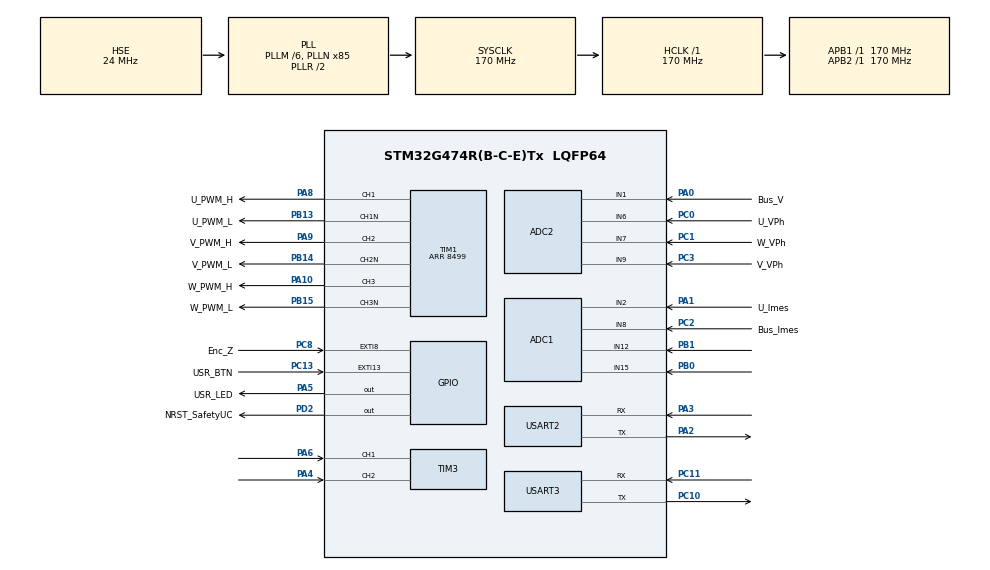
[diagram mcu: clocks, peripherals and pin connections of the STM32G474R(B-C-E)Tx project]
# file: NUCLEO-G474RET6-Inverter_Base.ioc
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ADC1.Channel-0\#ChannelRegularConversion=ADC_CHANNEL_2
ADC1.ContinuousConvMode=DISABLE
ADC1.DMAContinuousRequests=ENABLE
ADC1.ExternalTrigConv=ADC_EXTERNALTRIG_T1_TRGO
ADC1.NbrOfConversionFlag=1
ADC1.OffsetNumber-0\#ChannelRegularConversion=ADC_OFFSET_NONE
ADC1.Rank-0\#ChannelRegularConversion=1
ADC1.SamplingTime-0\#ChannelRegularConversion=ADC_SAMPLETIME_640CYCLES_5
ADC1.master=1
ADC2.Channel-0\#ChannelRegularConversion=ADC_CHANNEL_6
ADC2.NbrOfConversionFlag=1
ADC2.OffsetNumber-0\#ChannelRegularConversion=ADC_OFFSET_NONE
ADC2.Rank-0\#ChannelRegularConversion=1
ADC2.SamplingTime-0\#ChannelRegularConversion=ADC_SAMPLETIME_2CYCLES_5
Dma.ADC1.0.Direction=DMA_PERIPH_TO_MEMORY
Dma.ADC1.0.EventEnable=DISABLE
Dma.ADC1.0.Instance=DMA1_Channel2
Dma.ADC1.0.MemDataAlignment=DMA_MDATAALIGN_HALFWORD
Dma.ADC1.0.MemInc=DMA_MINC_ENABLE
Dma.ADC1.0.Mode=DMA_CIRCULAR
Dma.ADC1.0.PeriphDataAlignment=DMA_PDATAALIGN_HALFWORD
Dma.ADC1.0.PeriphInc=DMA_PINC_DISABLE
Dma.ADC1.0.Polarity=HAL_DMAMUX_REQ_GEN_RISING
Dma.ADC1.0.Priority=DMA_PRIORITY_HIGH
Dma.ADC1.0.RequestNumber=1
Dma.ADC1.0.SignalID=NONE
Dma.ADC1.0.SyncEnable=DISABLE
Dma.ADC1.0.SyncPolarity=HAL_DMAMUX_SYNC_NO_EVENT
Dma.ADC1.0.SyncRequestNumber=1
Dma.ADC1.0.SyncSignalID=NONE
Dma.Request0=ADC1
Mcu.Family=STM32G4
<<<<<<< HEAD
=======
>>>>>>> 3be45abfca1f35e9987b3098ab299a620d0665c6
Mcu.Name=STM32G474R(B-C-E)Tx
Mcu.Package=LQFP64
<<<<<<< HEAD
=======
>>>>>>> 3be45abfca1f35e9987b3098ab299a620d0665c6
NVIC.DMA1_Channel2_IRQn=true\:0\:0\:false\:false\:true\:false\:true\:true
NVIC.EXTI15_10_IRQn=true\:0\:0\:false\:false\:true\:true\:true\:true
NVIC.EXTI9_5_IRQn=true\:0\:0\:false\:false\:true\:true\:true\:true
NVIC.PriorityGroup=NVIC_PRIORITYGROUP_4
<<<<<<< HEAD
NVIC.TIM1_UP_TIM16_IRQn=true\:0\:0\:false\:false\:true\:true\:true\:true
=======
NVIC.TIM1_TRG_COM_TIM17_IRQn=true\:0\:0\:false\:false\:true\:true\:true\:true
>>>>>>> 3be45abfca1f35e9987b3098ab299a620d0665c6
NVIC.TIM6_DAC_IRQn=true\:15\:0\:false\:false\:true\:false\:true\:true
NVIC.TIM7_DAC_IRQn=true\:0\:0\:false\:false\:true\:true\:true\:true
NVIC.TimeBase=TIM6_DAC_IRQn
NVIC.TimeBaseIP=TIM6
NVIC.USART2_IRQn=true\:0\:0\:false\:false\:true\:true\:true\:true
PA0.GPIO_Label=Bus_V
PA0.Mode=IN1-Single-Ended
PA0.Signal=ADC2_IN1
PA1.GPIO_Label=U_Imes
PA1.Mode=IN2-Single-Ended
PA1.Signal=ADC1_IN2
PA10.GPIO_Label=W_PWM_H
PA10.Signal=S_TIM1_CH3
PA13.GPIO_Label=T_SWDIO
PA13.Mode=Trace_Asynchronous_SW
PA13.Signal=SYS_JTMS-SWDIO
PA14.GPIO_Label=T_SWCLK
PA14.Mode=Trace_Asynchronous_SW
PA14.Signal=SYS_JTCK-SWCLK
PA2.Mode=Asynchronous
PA2.Signal=USART2_TX
PA3.Mode=Asynchronous
PA3.Signal=USART2_RX
PA4.Signal=S_TIM3_CH2
PA5.GPIO_Label=USR_LED
PA5.Signal=GPIO_Output
PA6.Signal=S_TIM3_CH1
PA8.GPIO_Label=U_PWM_H
PA8.Signal=S_TIM1_CH1
PA9.GPIO_Label=V_PWM_H
PA9.Signal=S_TIM1_CH2
PB0.Mode=IN15-Single-Ended
PB0.Signal=ADC1_IN15
PB1.Mode=IN12-Single-Ended
PB1.Signal=ADC1_IN12
PB13.GPIO_Label=U_PWM_L
PB13.Mode=PWM Generation1 CH1 CH1N
PB13.Signal=TIM1_CH1N
PB14.GPIO_Label=V_PWM_L
PB14.Mode=PWM Generation2 CH2 CH2N
PB14.Signal=TIM1_CH2N
PB15.GPIO_Label=W_PWM_L
PB15.Mode=PWM Generation3 CH3 CH3N
PB15.Signal=TIM1_CH3N
PB3.GPIO_Label=T_SWO
PB3.Mode=Trace_Asynchronous_SW
PB3.Signal=SYS_JTDO-SWO
PC0.GPIO_Label=U_VPh
PC0.Mode=IN6-Single-Ended
PC0.Signal=ADC2_IN6
PC1.GPIO_Label=W_VPh
PC1.Mode=IN7-Single-Ended
PC1.Signal=ADC2_IN7
PC10.Mode=Asynchronous
PC10.Signal=USART3_TX
PC11.Mode=Asynchronous
PC11.Signal=USART3_RX
PC13.GPIO_Label=USR_BTN
PC13.Signal=GPXTI13
PC14-OSC32_IN.Mode=LSE-External-Oscillator
PC14-OSC32_IN.Signal=RCC_OSC32_IN
PC15-OSC32_OUT.Mode=LSE-External-Oscillator
PC15-OSC32_OUT.Signal=RCC_OSC32_OUT
PC2.GPIO_Label=Bus_Imes
PC2.Mode=IN8-Single-Ended
PC2.Signal=ADC1_IN8
PC3.GPIO_Label=V_VPh
PC3.Mode=IN9-Single-Ended
PC3.Signal=ADC2_IN9
PC8.GPIO_Label=Enc_Z
PC8.Signal=GPXTI8
PD2.GPIO_Label=NRST_SafetyUC
PD2.Signal=GPIO_Output
PF0-OSC_IN.Mode=HSE-External-Oscillator
PF0-OSC_IN.Signal=RCC_OSC_IN
PF1-OSC_OUT.Mode=HSE-External-Oscillator
PF1-OSC_OUT.Signal=RCC_OSC_OUT
ProjectManager.HeapSize=0x200
ProjectManager.StackSize=0x400
ProjectManager.TargetToolchain=STM32CubeIDE
<<<<<<< HEAD
=======
>>>>>>> 3be45abfca1f35e9987b3098ab299a620d0665c6
RCC.ADC12Freq_Value=170000000
RCC.ADC345Freq_Value=170000000
RCC.AHBFreq_Value=170000000
RCC.APB1Freq_Value=170000000
RCC.APB1TimFreq_Value=170000000
RCC.APB2Freq_Value=170000000
RCC.APB2TimFreq_Value=170000000
RCC.CortexFreq_Value=170000000
RCC.EXTERNAL_CLOCK_VALUE=12288000
RCC.HCLKFreq_Value=170000000
RCC.HSE_VALUE=24000000
RCC.HSI48_VALUE=48000000
RCC.HSI_VALUE=16000000
RCC.PLLM=RCC_PLLM_DIV6
RCC.PLLN=85
RCC.PLLSourceVirtual=RCC_PLLSOURCE_HSE
RCC.RTCClockSelection=RCC_RTCCLKSOURCE_LSE
RCC.SYSCLKFreq_VALUE=170000000
RCC.SYSCLKSource=RCC_SYSCLKSOURCE_PLLCLK
RCC.USBFreq_Value=170000000
RCC.VCOOutputFreq_Value=340000000
SH.S_TIM1_CH1.0=TIM1_CH1,PWM Generation1 CH1 CH1N
SH.S_TIM1_CH2.0=TIM1_CH2,PWM Generation2 CH2 CH2N
SH.S_TIM1_CH3.0=TIM1_CH3,PWM Generation3 CH3 CH3N
SH.S_TIM3_CH1.0=TIM3_CH1,Encoder_Interface
SH.S_TIM3_CH2.0=TIM3_CH2,Encoder_Interface
<<<<<<< HEAD
=======
SH.S_TIM3_CH3.0=TIM3_CH3
>>>>>>> 3be45abfca1f35e9987b3098ab299a620d0665c6
TIM1.Channel-PWM\ Generation1\ CH1\ CH1N=TIM_CHANNEL_1
TIM1.Channel-PWM\ Generation2\ CH2\ CH2N=TIM_CHANNEL_2
TIM1.Channel-PWM\ Generation3\ CH3\ CH3N=TIM_CHANNEL_3
TIM1.CounterMode=TIM_COUNTERMODE_CENTERALIGNED1
TIM1.DeadTime=17
TIM1.PeriodNoDither=8499
TIM1.PulseNoDither_1=4500
TIM1.PulseNoDither_2=4500
TIM1.TIM_MasterOutputTrigger=TIM_TRGO_UPDATE
<<<<<<< HEAD
=======
TIM16.Prescaler=169
TIM17.PeriodNoDither=999
TIM17.Prescaler=169
>>>>>>> 3be45abfca1f35e9987b3098ab299a620d0665c6
TIM3.EncoderMode=TIM_ENCODERMODE_TI12
TIM7.AutoReloadPreload=TIM_AUTORELOAD_PRELOAD_ENABLE
TIM7.PeriodNoDither=999
TIM7.Prescaler=169
USART2.VirtualMode-Asynchronous=VM_ASYNC
USART3.VirtualMode-Asynchronous=VM_ASYNC
VP_SYS_VS_DBSignals.Mode=DisableDeadBatterySignals
VP_SYS_VS_tim6.Mode=TIM6
<<<<<<< HEAD
=======
VP_TIM16_VS_ClockSourceINT.Mode=Enable_Timer
VP_TIM17_VS_ClockSourceINT.Mode=Enable_Timer
>>>>>>> 3be45abfca1f35e9987b3098ab299a620d0665c6
VP_TIM7_VS_ClockSourceINT.Mode=Enable_Timer
board=NUCLEO-G474RE

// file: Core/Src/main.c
/* USER CODE BEGIN Header */
/**
 ******************************************************************************
 * @file           : main.c
 * @brief          : Main program body
 ******************************************************************************
 * @attention
 *
 * Copyright (c) 2025 STMicroelectronics.
 * All rights reserved.
 *
 * This software is licensed under terms that can be found in the LICENSE file
 * in the root directory of this software component.
 * If no LICENSE file comes with this software, it is provided AS-IS.
 *
 ******************************************************************************
 */
/* USER CODE END Header */
#include "main.h"
#include "adc.h"
#include "dma.h"
#include "tim.h"
#include "usart.h"
#include "gpio.h"

/* USER CODE BEGIN Includes */
#include "app.h"
#include "user_interface/shell.h"
#include "acquisition/input_encoder.h"
/* USER CODE END Includes */

void SystemClock_Config(void);

int main(void)
{

	/* MCU Configuration--------------------------------------------------------*/

	/* Reset of all peripherals, Initializes the Flash interface and the Systick. */
	HAL_Init();

	/* Configure the system clock */
	SystemClock_Config();

	/* Initialize all configured peripherals */
	MX_GPIO_Init();
	MX_DMA_Init();
	MX_ADC2_Init();
	MX_ADC1_Init();
	MX_TIM1_Init();
	MX_TIM3_Init();
	MX_USART2_UART_Init();
	MX_USART3_UART_Init();
	MX_TIM16_Init();
	MX_TIM7_Init();
	MX_TIM17_Init();
	/* USER CODE BEGIN 2 */
	HAL_TIM_Base_Start(&htim16); //even though MX_TIM16_Init was executed, the ramp without this line juste doesn't work, the timer doesn't start
	HAL_TIM_Base_Start_IT(&htim7);
	HAL_TIM_Base_Start_IT(&htim17);
	HAL_TIM_Encoder_Start(&htim3, TIM_CHANNEL_1);
	HAL_TIM_Encoder_Start(&htim3, TIM_CHANNEL_2);
	init_device();
	/* USER CODE END 2 */

	/* Infinite loop */
	/* USER CODE BEGIN WHILE */
	while (1)
	{
		loop();
		/* USER CODE END WHILE */

	}
}

void SystemClock_Config(void)
{
	RCC_OscInitTypeDef RCC_OscInitStruct = {0};
	RCC_ClkInitTypeDef RCC_ClkInitStruct = {0};

	/** Configure the main internal regulator output voltage
	 */
	HAL_PWREx_ControlVoltageScaling(PWR_REGULATOR_VOLTAGE_SCALE1_BOOST);

	/** Initializes the RCC Oscillators according to the specified parameters
	 * in the RCC_OscInitTypeDef structure.
	 */
	RCC_OscInitStruct.OscillatorType = RCC_OSCILLATORTYPE_HSE;
	RCC_OscInitStruct.HSEState = RCC_HSE_ON;
	RCC_OscInitStruct.PLL.PLLState = RCC_PLL_ON;
	RCC_OscInitStruct.PLL.PLLSource = RCC_PLLSOURCE_HSE;
	RCC_OscInitStruct.PLL.PLLM = RCC_PLLM_DIV6;
	RCC_OscInitStruct.PLL.PLLN = 85;
	RCC_OscInitStruct.PLL.PLLP = RCC_PLLP_DIV2;
	RCC_OscInitStruct.PLL.PLLQ = RCC_PLLQ_DIV2;
	RCC_OscInitStruct.PLL.PLLR = RCC_PLLR_DIV2;
	if (HAL_RCC_OscConfig(&RCC_OscInitStruct) != HAL_OK)
	{
		Error_Handler();
	}

	/** Initializes the CPU, AHB and APB buses clocks
	 */
	RCC_ClkInitStruct.ClockType = RCC_CLOCKTYPE_HCLK|RCC_CLOCKTYPE_SYSCLK
			|RCC_CLOCKTYPE_PCLK1|RCC_CLOCKTYPE_PCLK2;
	RCC_ClkInitStruct.SYSCLKSource = RCC_SYSCLKSOURCE_PLLCLK;
	RCC_ClkInitStruct.AHBCLKDivider = RCC_SYSCLK_DIV1;
	RCC_ClkInitStruct.APB1CLKDivider = RCC_HCLK_DIV1;
	RCC_ClkInitStruct.APB2CLKDivider = RCC_HCLK_DIV1;

	if (HAL_RCC_ClockConfig(&RCC_ClkInitStruct, FLASH_LATENCY_4) != HAL_OK)
	{
		Error_Handler();
	}
}

void HAL_TIM_PeriodElapsedCallback(TIM_HandleTypeDef *htim)
{
	/* USER CODE BEGIN Callback 0 */
	static uint16_t counter_speed_asserv = 0 ;
	/* USER CODE END Callback 0 */
	if (htim->Instance == TIM6)
	{
		HAL_IncTick();
	}
	/* USER CODE BEGIN Callback 1 */

	if (htim->Instance == TIM7)
	{
		Calcul_Vitesse_Precise();
	}

	if (htim->Instance == TIM17)
	{
		counter_speed_asserv++;
		if(counter_speed_asserv >= SPEED_ASSERV_PERIOD)
		{
			speed_asserv=1;
			counter_speed_asserv = 0 ;
		}
	}
	/* USER CODE END Callback 1 */
}

void Error_Handler(void)
{
	__disable_irq();
	while (1)
	{
	}
}
